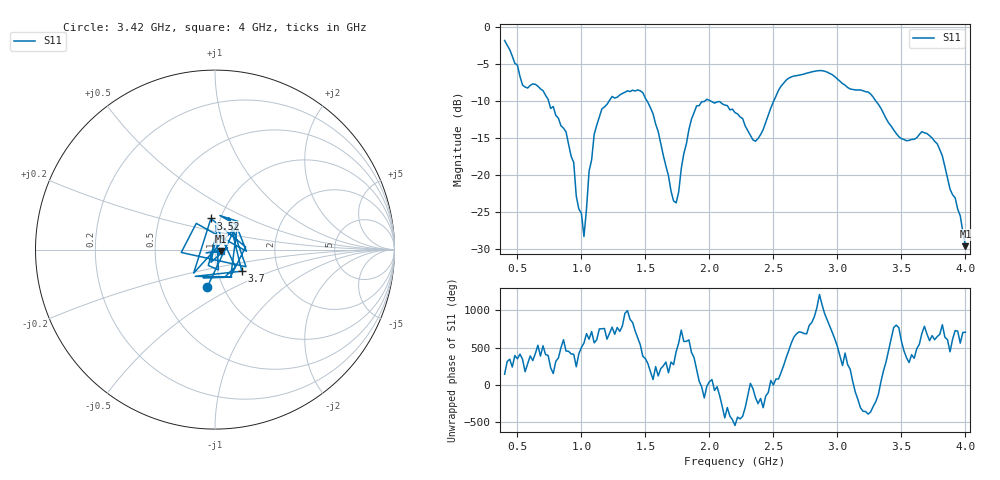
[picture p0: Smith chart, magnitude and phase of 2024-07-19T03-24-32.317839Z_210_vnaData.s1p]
!Created with skrf (http://scikit-rf.org).
# Hz S RI R 50.0
!freq ReS11 ImS11
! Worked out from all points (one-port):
!   181 points, 400 MHz to 4 GHz, reference 50 ohm
!   lowest |S11| = -29.6 dB at 4 GHz (marker M1), VSWR 1.07, Z = 53.3 - j0.828 ohm
!   |S11| at or under -10 dB: 744.4 MHz to 1.215 GHz (471 MHz wide, 48.1 % of centre); 2.014 GHz to 2.501 GHz (487.2 MHz wide, 21.6 % of centre); 3.302 GHz to end of sweep (the widest 3 of 4)
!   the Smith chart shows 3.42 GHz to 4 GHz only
!   S11 on the Smith chart (normalised r, x): 3.42 GHz: 0.84, -0.37; 3.52 GHz: 0.90, +0.32; 3.7 GHz: 1.30, -0.33; 4 GHz: 1.07, -0.02
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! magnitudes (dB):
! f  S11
! 400 MHz  -1.8
! 540 MHz  -7.8
! 700 MHz  -8.6
! 860 MHz  -13.6
! 940 MHz  -18.3
! 960 MHz  -22.8
! 1.02 GHz  -28.3
! 1.06 GHz  -19.4
! 1.1 GHz  -14.4
! 1.16 GHz  -11.0
! 1.3 GHz  -9.1
! 1.48 GHz  -8.8
! 1.6 GHz  -14.1
! 1.72 GHz  -23.5
! 1.76 GHz  -22.2
! 1.8 GHz  -17.1
! 1.9 GHz  -10.6
! 2.2 GHz  -11.5
! 2.36 GHz  -15.4
! 2.66 GHz  -6.6
! 3.1 GHz  -8.3
! 3.26 GHz  -9.0
! 3.42 GHz  -13.3
! 3.52 GHz  -15.1
! 3.56 GHz  -15.3
! 3.7 GHz  -14.4
! 3.82 GHz  -17.4
! 4 GHz  -29.6
